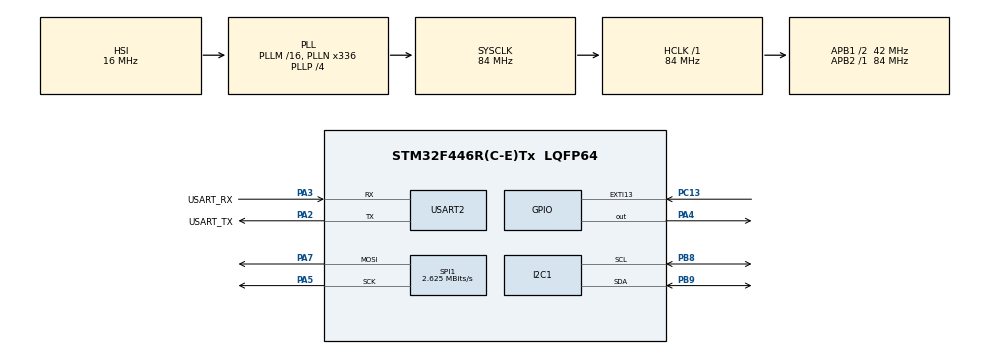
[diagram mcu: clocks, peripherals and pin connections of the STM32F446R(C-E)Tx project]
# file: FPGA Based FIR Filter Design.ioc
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Mcu.Family=STM32F4
Mcu.Name=STM32F446R(C-E)Tx
Mcu.Package=LQFP64
NUCLEO-F446RE.BUTTON=1
NUCLEO-F446RE.LD1=true
NVIC.EXTI15_10_IRQn=true\:0\:0\:false\:false\:true\:false\:true\:true
NVIC.PriorityGroup=NVIC_PRIORITYGROUP_0
NVIC.TIM2_IRQn=true\:0\:0\:false\:false\:true\:true\:true\:true
PA13.GPIO_Label=TMS
PA13.Mode=Serial_Wire
PA13.Signal=SYS_JTMS-SWDIO
PA14.GPIO_Label=TCK
PA14.Mode=Serial_Wire
PA14.Signal=SYS_JTCK-SWCLK
PA2.GPIO_Label=USART_TX
PA2.Mode=Asynchronous
PA2.Signal=USART2_TX
PA3.GPIO_Label=USART_RX
PA3.Mode=Asynchronous
PA3.Signal=USART2_RX
PA4.Signal=GPIO_Output
PA5.Mode=TX_Only_Simplex_Unidirect_Master
PA5.Signal=SPI1_SCK
PA7.Mode=TX_Only_Simplex_Unidirect_Master
PA7.Signal=SPI1_MOSI
PB8.Mode=I2C
PB8.Signal=I2C1_SCL
PB9.Mode=I2C
PB9.Signal=I2C1_SDA
PC13.Signal=GPXTI13
PC14-OSC32_IN.Signal=RCC_OSC32_IN
PC15-OSC32_OUT.Signal=RCC_OSC32_OUT
PH0-OSC_IN.Signal=RCC_OSC_IN
PH1-OSC_OUT.Signal=RCC_OSC_OUT
ProjectManager.HeapSize=0x200
ProjectManager.StackSize=0x400
ProjectManager.TargetToolchain=STM32CubeIDE
RCC.AHBFreq_Value=84000000
RCC.APB1CLKDivider=RCC_HCLK_DIV2
RCC.APB1Freq_Value=42000000
RCC.APB1TimFreq_Value=84000000
RCC.APB2Freq_Value=84000000
RCC.APB2TimFreq_Value=84000000
RCC.CortexFreq_Value=84000000
RCC.FLatency-AdvancedSettings=FLASH_LATENCY_2
RCC.HCLKFreq_Value=84000000
RCC.HSE_VALUE=8000000
RCC.HSI_VALUE=16000000
RCC.LSE_VALUE=32768
RCC.PLLN=336
RCC.PLLP=RCC_PLLP_DIV4
RCC.SYSCLKFreq_VALUE=84000000
RCC.SYSCLKSource=RCC_SYSCLKSOURCE_PLLCLK
RCC.USBFreq_Value=168000000
RCC.VCOOutputFreq_Value=336000000
SPI1.BaudRatePrescaler=SPI_BAUDRATEPRESCALER_32
SPI1.CalculateBaudRate=2.625 MBits/s
SPI1.Direction=SPI_DIRECTION_2LINES
SPI1.Mode=SPI_MODE_MASTER
SPI1.VirtualType=VM_MASTER
TIM2.Period=2000-1
TIM2.Prescaler=16-1
USART2.VirtualMode=VM_ASYNC
VP_NUCLEO-F446RE_VS_BSP_COMMON.Mode=COMMON
VP_TIM2_VS_ClockSourceINT.Mode=Internal
board=NUCLEO-F446RE

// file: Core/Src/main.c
/* USER CODE BEGIN Header */
/**
  ******************************************************************************
  * @file           : main.c
  * @brief          : Main program body
  ******************************************************************************
  * @attention
  *
  * Copyright (c) 2026 STMicroelectronics.
  * All rights reserved.
  *
  * This software is licensed under terms that can be found in the LICENSE file
  * in the root directory of this software component.
  * If no LICENSE file comes with this software, it is provided AS-IS.
  *
  ******************************************************************************
  */
/* USER CODE END Header */
#include "main.h"
#include "i2c.h"
#include "spi.h"
#include "tim.h"
#include "usart.h"
#include "gpio.h"

/* USER CODE BEGIN Includes */
#include "mpu6050.h"
#include <stdio.h>
#include <string.h>
/* USER CODE END Includes */

/* USER CODE BEGIN PV */
volatile uint8_t timer_flag = 0;
uint8_t tx_buffer[64];
MPU6050_Data_t mpu_data;
uint8_t mpu_addr = 0;
/* USER CODE END PV */

void SystemClock_Config(void);

/* USER CODE BEGIN 0 */
void SPI_Send_Sample(int16_t sample)
{
    uint8_t bytes[2];
    bytes[0] = (uint8_t)((sample >> 8) & 0xFF); // High Byte (MSB)
    bytes[1] = (uint8_t)(sample & 0xFF);        // Low Byte (LSB)

    // Pull CS LOW (PA4)
    HAL_GPIO_WritePin(GPIOA, GPIO_PIN_4, GPIO_PIN_RESET);

    // Transmit 2 bytes over SPI1
    HAL_SPI_Transmit(&hspi1, bytes, 2, 10);

    // Pull CS HIGH (PA4)
    HAL_GPIO_WritePin(GPIOA, GPIO_PIN_4, GPIO_PIN_SET);
}
/* USER CODE END 0 */

int main(void)
{

  /* MCU Configuration--------------------------------------------------------*/

  /* Reset of all peripherals, Initializes the Flash interface and the Systick. */
  HAL_Init();

  /* Configure the system clock */
  SystemClock_Config();

  /* Initialize all configured peripherals */
  MX_GPIO_Init();
  MX_I2C1_Init();
  MX_TIM2_Init();
  MX_USART2_UART_Init();
  MX_SPI1_Init();
  /* USER CODE BEGIN 2 */
  // 1. Send startup confirmation over UART
    char msg[64];
    int len = sprintf(msg, "MCU_STARTED\r\n");
    HAL_UART_Transmit(&huart2, (uint8_t*)msg, len, 100);

    // 2. Scan I2C bus for MPU6050 address (0x68 or 0x69)
    for (uint8_t addr = 1; addr < 128; addr++)
    {
        if (HAL_I2C_IsDeviceReady(&hi2c1, (uint16_t)(addr << 1), 2, 50) == HAL_OK)
        {
            mpu_addr = (addr << 1); // Save 8-bit shifted address
            len = sprintf(msg, "FOUND_SENSOR_AT_0x%02X\r\n", addr);
            HAL_UART_Transmit(&huart2, (uint8_t*)msg, len, 100);
            break;
        }
    }

    if (mpu_addr == 0)
    {
        len = sprintf(msg, "ERROR_NO_I2C_SENSOR_RESPONDED\r\n");
        HAL_UART_Transmit(&huart2, (uint8_t*)msg, len, 100);
    }
    else
    {
        // 3. Sensor found! Wake it up with 100ms timeout so it CANNOT hang
        uint8_t wake_data = 0x00;
        HAL_I2C_Mem_Write(&hi2c1, mpu_addr, 0x6B, 1, &wake_data, 1, 100); // PWR_MGMT_1

        uint8_t config_data = 0x00; // ±2g scale
        HAL_I2C_Mem_Write(&hi2c1, mpu_addr, 0x1C, 1, &config_data, 1, 100); // ACCEL_CONFIG

        len = sprintf(msg, "SENSOR_INITIALIZED_SUCCESSFULLY\r\n");
        HAL_UART_Transmit(&huart2, (uint8_t*)msg, len, 100);

        // Start 500 Hz Timer interrupt
        HAL_TIM_Base_Start_IT(&htim2);
    }
  /* USER CODE END 2 */

  /* Initialize leds */
//  BSP_LED_Init(LED2);

  /* Initialize USER push-button, will be used to trigger an interrupt each time it's pressed.*/
//  BSP_PB_Init(BUTTON_USER, BUTTON_MODE_EXTI);

  /* Infinite loop */
  /* USER CODE BEGIN WHILE */
    while (1)
      {
          if (timer_flag)
          {
              timer_flag = 0;

              if (mpu_addr != 0)
              {
                  // Read 6 accelerometer bytes directly from sensor (0x3B = ACCEL_XOUT_H)
                  uint8_t raw_buf[6];
                  if (HAL_I2C_Mem_Read(&hi2c1, mpu_addr, 0x3B, 1, raw_buf, 6, 50) == HAL_OK)
                  {
                      // Combine Z-axis high and low bytes (Registers 0x3F & 0x40)
                      int16_t raw_z = (int16_t)((raw_buf[4] << 8) | raw_buf[5]);

                      len = sprintf((char*)tx_buffer, "%d\r\n", raw_z);
                      HAL_UART_Transmit(&huart2, tx_buffer, len, 10);
                      // 2. Send via SPI to FPGA!
                      SPI_Send_Sample(raw_z);
                  }
              }
          }
    /* USER CODE END WHILE */

  }
}

void SystemClock_Config(void)
{
  RCC_OscInitTypeDef RCC_OscInitStruct = {0};
  RCC_ClkInitTypeDef RCC_ClkInitStruct = {0};

  /** Configure the main internal regulator output voltage
  */
  __HAL_RCC_PWR_CLK_ENABLE();
  __HAL_PWR_VOLTAGESCALING_CONFIG(PWR_REGULATOR_VOLTAGE_SCALE3);

  /** Initializes the RCC Oscillators according to the specified parameters
  * in the RCC_OscInitTypeDef structure.
  */
  RCC_OscInitStruct.OscillatorType = RCC_OSCILLATORTYPE_HSI;
  RCC_OscInitStruct.HSIState = RCC_HSI_ON;
  RCC_OscInitStruct.HSICalibrationValue = RCC_HSICALIBRATION_DEFAULT;
  RCC_OscInitStruct.PLL.PLLState = RCC_PLL_ON;
  RCC_OscInitStruct.PLL.PLLSource = RCC_PLLSOURCE_HSI;
  RCC_OscInitStruct.PLL.PLLM = 16;
  RCC_OscInitStruct.PLL.PLLN = 336;
  RCC_OscInitStruct.PLL.PLLP = RCC_PLLP_DIV4;
  RCC_OscInitStruct.PLL.PLLQ = 2;
  RCC_OscInitStruct.PLL.PLLR = 2;
  if (HAL_RCC_OscConfig(&RCC_OscInitStruct) != HAL_OK)
  {
    Error_Handler();
  }

  /** Initializes the CPU, AHB and APB buses clocks
  */
  RCC_ClkInitStruct.ClockType = RCC_CLOCKTYPE_HCLK|RCC_CLOCKTYPE_SYSCLK
                              |RCC_CLOCKTYPE_PCLK1|RCC_CLOCKTYPE_PCLK2;
  RCC_ClkInitStruct.SYSCLKSource = RCC_SYSCLKSOURCE_PLLCLK;
  RCC_ClkInitStruct.AHBCLKDivider = RCC_SYSCLK_DIV1;
  RCC_ClkInitStruct.APB1CLKDivider = RCC_HCLK_DIV2;
  RCC_ClkInitStruct.APB2CLKDivider = RCC_HCLK_DIV1;

  if (HAL_RCC_ClockConfig(&RCC_ClkInitStruct, FLASH_LATENCY_2) != HAL_OK)
  {
    Error_Handler();
  }
}

/* USER CODE BEGIN 4 */
void HAL_TIM_PeriodElapsedCallback(TIM_HandleTypeDef *htim)
{
    if (htim->Instance == TIM2)
    {
        timer_flag = 1; // Flag main loop to execute I2C read
    }
}
/* USER CODE END 4 */

void Error_Handler(void)
{
  __disable_irq();
  while (1)
  {
  }
}
